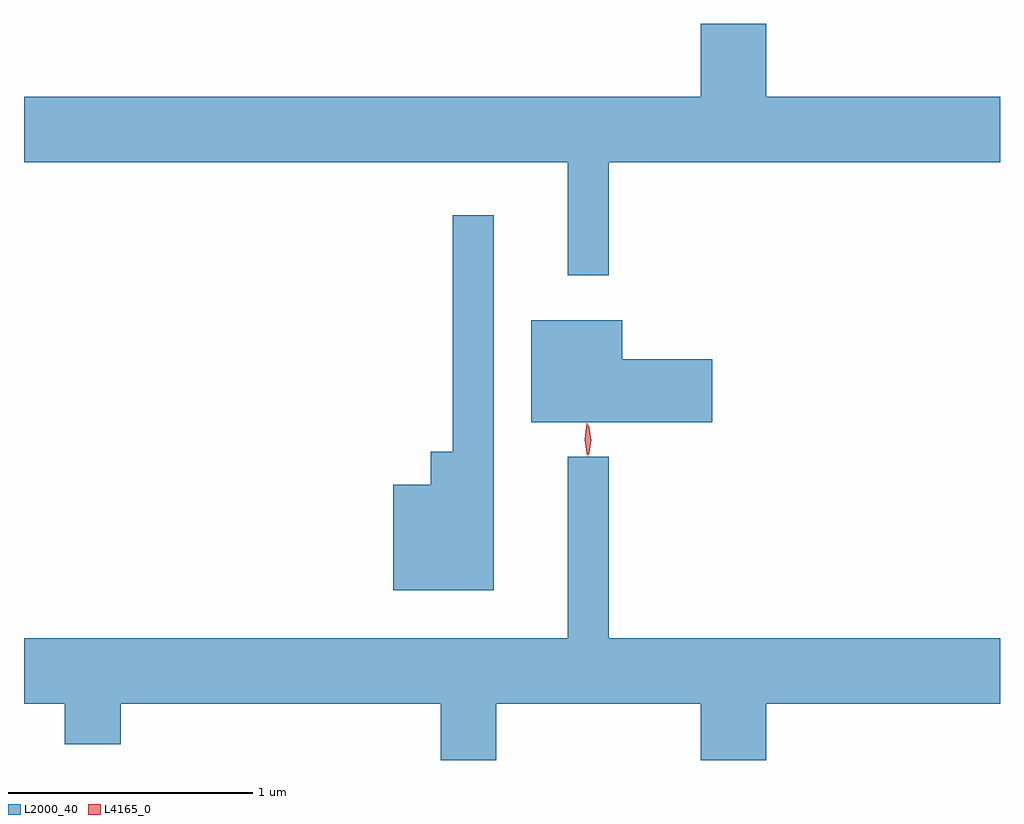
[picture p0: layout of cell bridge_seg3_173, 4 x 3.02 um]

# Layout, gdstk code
import gdstk
lib = gdstk.Library(unit=1e-6, precision=1e-09)
def P(c, l, *ps):  # polygons
    for p in ps: c.add(gdstk.Polygon(p, *l))
L2000_40 = (2000, 40)
L4165_0 = (4165, 0)

bridge_seg3_173 = lib.new_cell('bridge_seg3_173')
P(bridge_seg3_173, L2000_40, [(854.059,1143.776),(855.663,1143.776),(855.663,1144.044),(854.704,1144.044),(854.704,1144.344),(854.436,1144.344),(854.436,1144.044),(851.663,1144.044),(851.663,1143.776),(853.891,1143.776),(853.891,1143.313),(854.059,1143.313)],
  [(853.589,1143.558),(853.421,1143.558),(853.421,1142.589),(853.331,1142.589),(853.331,1142.454),(853.176,1142.454),(853.176,1142.021),(853.589,1142.021)],
  [(854.484,1142.969),(854.114,1142.969),(854.114,1143.129),(853.741,1143.129),(853.741,1142.711),(854.484,1142.711)],
  [(851.663,1141.556),(851.831,1141.556),(851.831,1141.391),(852.059,1141.391),(852.059,1141.556),(853.371,1141.556),(853.371,1141.324),(853.599,1141.324),(853.599,1141.556),(854.436,1141.556),(854.436,1141.324),(854.704,1141.324),(854.704,1141.556),(855.663,1141.556),(855.663,1141.824),(854.059,1141.824),(854.059,1142.568),(853.891,1142.568),(853.891,1141.824),(851.663,1141.824)])
P(bridge_seg3_173, L4165_0, [(853.971,1142.57),(853.961,1142.638),(853.97,1142.706),(853.971,1142.706),(853.971,1142.706),(853.981,1142.638),(853.972,1142.57),(853.972,1142.57)],
  [(853.977,1142.573),(853.977,1142.573),(853.967,1142.636),(853.977,1142.699),(853.977,1142.7),(853.978,1142.699),(853.988,1142.636),(853.978,1142.573)])

lib.write_gds('bridge_seg3_173.gds')
